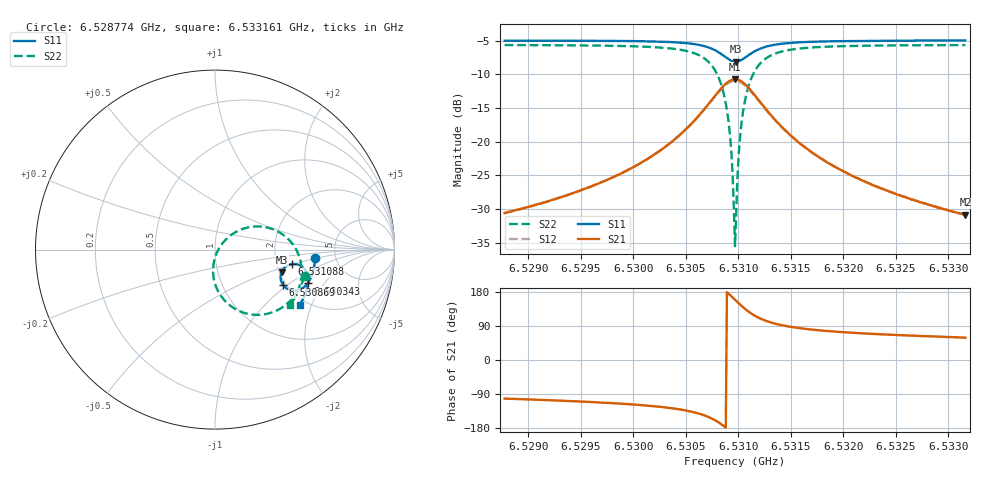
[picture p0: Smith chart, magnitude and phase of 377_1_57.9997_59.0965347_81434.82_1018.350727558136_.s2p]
#  HZ  S  RI  R  50.00
! Rohde & Schwarz Vector Network Analyzer
! Rohde-Schwarz,ZNB20-2Port,1311601062101988,3.16
! Created: UTC 3/21/2024, 1:07:10 AM
! freq[Hz]  re:S11  im:S11  re:S21  im:S21  re:S12  im:S12  re:S22  im:S22
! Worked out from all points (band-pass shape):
!   401 points, 6.528774 GHz to 6.533161 GHz, reference 50 ohm
!   highest |S21| = -10.74 dB at 6.530968 GHz (marker M1); lowest = -30.9 dB at 6.533161 GHz (marker M2)
!   |S21| within 3 dB of the highest: 6.53075 GHz to 6.531188 GHz (438.2 kHz wide, 0.00671 % of centre)
!   lowest |S11| = -8.1 dB at 6.530979 GHz (marker M3), VSWR 2.29, Z = 103 - j30.5 ohm
!   |S11| at or under -10 dB: nowhere
!   |S22| runs from -35.5 to -5.7 dB; largest |S21 - S12| = 0.011
!   S11 on the Smith chart (normalised r, x): 6.528774 GHz: 3.49, -0.46; 6.530343 GHz: 2.59, -1.40; 6.530869 GHz: 1.93, -0.94; 6.531088 GHz: 2.42, -0.48; 6.533161 GHz: 1.82, -1.65
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6.528774e9  0.5595 -0.0455  -0.00604 -0.0288  -0.00651 -0.0288  0.4991 -0.1486
6.5295089e9  0.5503 -0.1059  -0.0147 -0.041  -0.0157 -0.0409  0.4706 -0.2154
6.5302438e9  0.5234 -0.1768  -0.0463 -0.0707  -0.0482 -0.0696  0.3937 -0.3081
6.5303425e9  0.5157 -0.1884  -0.0571 -0.0776  -0.0593 -0.076  0.3707 -0.3244
6.5307045e9  0.4488 -0.2282  -0.1593 -0.0949  -0.1613 -0.0887  0.1772 -0.3565
6.5308032e9  0.4087 -0.2213  -0.2215 -0.0674  -0.2206 -0.0584  0.0717 -0.3013
6.530869e9  0.3803 -0.1982  -0.2633 -0.0179  -0.2585 -0.00894  0.0079 -0.2118
6.5309129e9  0.3676 -0.1724  -0.2792 0.032  -0.2714 0.0395  -0.0109 -0.1261
6.5309239e9  0.3661 -0.1648  -0.2804 0.046  -0.2721 0.0529  -0.0105 -0.1026
6.5309568e9  0.3663 -0.1411  -0.2756 0.0894  -0.266 0.0938  0.00407 -0.032
6.5309677e9  0.3683 -0.1332  -0.2711 0.1037  -0.2615 0.107  0.0137 -0.00955
6.5309787e9  0.3708 -0.1257  -0.2652 0.1171  -0.2555 0.1197  0.0254 0.0121
6.5309897e9  0.3743 -0.1184  -0.2582 0.13  -0.2484 0.132  0.0394 0.0322
6.5310116e9  0.3832 -0.1054  -0.2403 0.1532  -0.2312 0.1534  0.072 0.0673
6.5310226e9  0.3886 -0.0998  -0.2302 0.1631  -0.2213 0.1626  0.0904 0.0821
6.5310555e9  0.4069 -0.0874  -0.1964 0.1855  -0.1892 0.1835  0.1496 0.1137
6.5310884e9  0.4263 -0.081  -0.1618 0.1972  -0.1561 0.1945  0.2091 0.1276
6.5311652e9  0.4651 -0.0844  -0.0932 0.1954  -0.0904 0.1927  0.3244 0.1125
6.5312749e9  0.498 -0.1069  -0.0357 0.1653  -0.0342 0.1639  0.4182 0.048
6.5317026e9  0.5196 -0.1831  0.0143 0.0816  0.015 0.0814  0.4831 -0.1296
6.5324375e9  0.4993 -0.2556  0.0168 0.0391  0.0174 0.0389  0.4557 -0.2451
6.5331614e9  0.4713 -0.3087  0.0148 0.0244  0.0152 0.0243  0.4202 -0.3073
